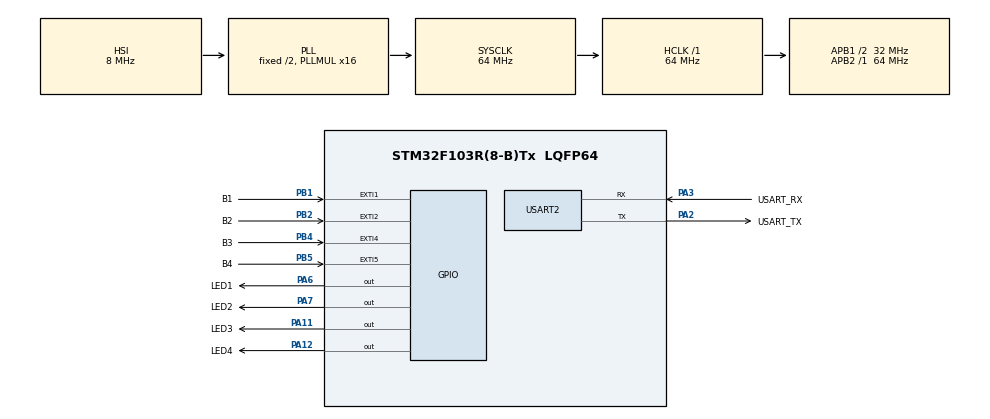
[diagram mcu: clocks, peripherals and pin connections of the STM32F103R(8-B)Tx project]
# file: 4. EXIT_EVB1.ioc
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Mcu.Family=STM32F1
Mcu.Name=STM32F103R(8-B)Tx
Mcu.Package=LQFP64
NVIC.EXTI1_IRQn=true\:0\:0\:false\:false\:true\:true\:true\:true
NVIC.EXTI2_IRQn=true\:0\:0\:false\:false\:true\:true\:true\:true
NVIC.EXTI4_IRQn=true\:0\:0\:false\:false\:true\:true\:true\:true
NVIC.EXTI9_5_IRQn=true\:0\:0\:false\:false\:true\:true\:true\:true
NVIC.PriorityGroup=NVIC_PRIORITYGROUP_4
PA11.GPIO_Label=LED3
PA11.Signal=GPIO_Output
PA12.GPIO_Label=LED4
PA12.Signal=GPIO_Output
PA13.GPIO_Label=TMS
PA13.Mode=Serial_Wire
PA13.Signal=SYS_JTMS-SWDIO
PA14.GPIO_Label=TCK
PA14.Mode=Serial_Wire
PA14.Signal=SYS_JTCK-SWCLK
PA2.GPIO_Label=USART_TX
PA2.GPIO_Mode=GPIO_MODE_AF_PP
PA2.GPIO_PuPd=GPIO_NOPULL
PA2.GPIO_Speed=GPIO_SPEED_FREQ_LOW
PA2.Mode=Asynchronous
PA2.Signal=USART2_TX
PA3.GPIO_Label=USART_RX
PA3.GPIO_Mode=GPIO_MODE_AF_PP
PA3.GPIO_PuPd=GPIO_NOPULL
PA3.GPIO_Speed=GPIO_SPEED_FREQ_LOW
PA3.Mode=Asynchronous
PA3.Signal=USART2_RX
PA6.GPIO_Label=LED1
PA6.Signal=GPIO_Output
PA7.GPIO_Label=LED2
PA7.Signal=GPIO_Output
PB1.GPIO_Label=B1
PB1.Signal=GPXTI1
PB2.GPIO_Label=B2
PB2.Signal=GPXTI2
PB3.GPIO_Label=SWO
PB3.Signal=SYS_JTDO-TRACESWO
PB4.GPIO_Label=B3
PB4.Signal=GPXTI4
PB5.GPIO_Label=B4
PB5.Signal=GPXTI5
PC14-OSC32_IN.Signal=RCC_OSC32_IN
PC15-OSC32_OUT.Signal=RCC_OSC32_OUT
PD0-OSC_IN.Signal=RCC_OSC_IN
PD1-OSC_OUT.Signal=RCC_OSC_OUT
ProjectManager.HeapSize=0x200
ProjectManager.StackSize=0x400
ProjectManager.TargetToolchain=STM32CubeIDE
RCC.AHBFreq_Value=64000000
RCC.APB1CLKDivider=RCC_HCLK_DIV2
RCC.APB1Freq_Value=32000000
RCC.APB1TimFreq_Value=64000000
RCC.APB2Freq_Value=64000000
RCC.APB2TimFreq_Value=64000000
RCC.HCLKFreq_Value=64000000
RCC.PLLMUL=RCC_PLL_MUL16
RCC.RTCClockSelection=RCC_RTCCLKSOURCE_LSE
RCC.SYSCLKFreq_VALUE=64000000
RCC.SYSCLKSource=RCC_SYSCLKSOURCE_PLLCLK
RCC.USBFreq_Value=64000000
USART2.VirtualMode=VM_ASYNC
board=NUCLEO-F103RB

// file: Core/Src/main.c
/* USER CODE BEGIN Header */
/**
  ******************************************************************************
  * @file           : main.c
  * @brief          : Main program body
  ******************************************************************************
  * @attention
  *
  * Copyright (c) 2025 STMicroelectronics.
  * All rights reserved.
  *
  * This software is licensed under terms that can be found in the LICENSE file
  * in the root directory of this software component.
  * If no LICENSE file comes with this software, it is provided AS-IS.
  *
  ******************************************************************************
  */
/* USER CODE END Header */
#include "main.h"

UART_HandleTypeDef huart2;

void SystemClock_Config(void);
static void MX_GPIO_Init(void);
static void MX_USART2_UART_Init(void);

int main(void)
{

  /* MCU Configuration--------------------------------------------------------*/

  /* Reset of all peripherals, Initializes the Flash interface and the Systick. */
  HAL_Init();

  /* Configure the system clock */
  SystemClock_Config();

  /* Initialize all configured peripherals */
  MX_GPIO_Init();
  MX_USART2_UART_Init();

  /* Infinite loop */
  while (1)
  {

  }
}

void SystemClock_Config(void)
{
  RCC_OscInitTypeDef RCC_OscInitStruct = {0};
  RCC_ClkInitTypeDef RCC_ClkInitStruct = {0};

  /** Initializes the RCC Oscillators according to the specified parameters
  * in the RCC_OscInitTypeDef structure.
  */
  RCC_OscInitStruct.OscillatorType = RCC_OSCILLATORTYPE_HSI;
  RCC_OscInitStruct.HSIState = RCC_HSI_ON;
  RCC_OscInitStruct.HSICalibrationValue = RCC_HSICALIBRATION_DEFAULT;
  RCC_OscInitStruct.PLL.PLLState = RCC_PLL_ON;
  RCC_OscInitStruct.PLL.PLLSource = RCC_PLLSOURCE_HSI_DIV2;
  RCC_OscInitStruct.PLL.PLLMUL = RCC_PLL_MUL16;
  if (HAL_RCC_OscConfig(&RCC_OscInitStruct) != HAL_OK)
  {
    Error_Handler();
  }

  /** Initializes the CPU, AHB and APB buses clocks
  */
  RCC_ClkInitStruct.ClockType = RCC_CLOCKTYPE_HCLK|RCC_CLOCKTYPE_SYSCLK
                              |RCC_CLOCKTYPE_PCLK1|RCC_CLOCKTYPE_PCLK2;
  RCC_ClkInitStruct.SYSCLKSource = RCC_SYSCLKSOURCE_PLLCLK;
  RCC_ClkInitStruct.AHBCLKDivider = RCC_SYSCLK_DIV1;
  RCC_ClkInitStruct.APB1CLKDivider = RCC_HCLK_DIV2;
  RCC_ClkInitStruct.APB2CLKDivider = RCC_HCLK_DIV1;

  if (HAL_RCC_ClockConfig(&RCC_ClkInitStruct, FLASH_LATENCY_2) != HAL_OK)
  {
    Error_Handler();
  }
}

static void MX_USART2_UART_Init(void)
{

  huart2.Instance = USART2;
  huart2.Init.BaudRate = 115200;
  huart2.Init.WordLength = UART_WORDLENGTH_8B;
  huart2.Init.StopBits = UART_STOPBITS_1;
  huart2.Init.Parity = UART_PARITY_NONE;
  huart2.Init.Mode = UART_MODE_TX_RX;
  huart2.Init.HwFlowCtl = UART_HWCONTROL_NONE;
  huart2.Init.OverSampling = UART_OVERSAMPLING_16;
  if (HAL_UART_Init(&huart2) != HAL_OK)
  {
    Error_Handler();
  }

}

static void MX_GPIO_Init(void)
{
  GPIO_InitTypeDef GPIO_InitStruct = {0};

  /* GPIO Ports Clock Enable */
  __HAL_RCC_GPIOC_CLK_ENABLE();
  __HAL_RCC_GPIOD_CLK_ENABLE();
  __HAL_RCC_GPIOA_CLK_ENABLE();
  __HAL_RCC_GPIOB_CLK_ENABLE();

  /*Configure GPIO pin Output Level */
  HAL_GPIO_WritePin(GPIOA, LED1_Pin|LED2_Pin|LED3_Pin|LED4_Pin, GPIO_PIN_RESET);

  /*Configure GPIO pins : LED1_Pin LED2_Pin LED3_Pin LED4_Pin */
  GPIO_InitStruct.Pin = LED1_Pin|LED2_Pin|LED3_Pin|LED4_Pin;
  GPIO_InitStruct.Mode = GPIO_MODE_OUTPUT_PP;
  GPIO_InitStruct.Pull = GPIO_NOPULL;
  GPIO_InitStruct.Speed = GPIO_SPEED_FREQ_LOW;
  HAL_GPIO_Init(GPIOA, &GPIO_InitStruct);

  /*Configure GPIO pins : B1_Pin B2_Pin B3_Pin B4_Pin */
  GPIO_InitStruct.Pin = B1_Pin|B2_Pin|B3_Pin|B4_Pin;
  GPIO_InitStruct.Mode = GPIO_MODE_IT_RISING;
  GPIO_InitStruct.Pull = GPIO_NOPULL;
  HAL_GPIO_Init(GPIOB, &GPIO_InitStruct);

  /* EXTI interrupt init*/
  HAL_NVIC_SetPriority(EXTI1_IRQn, 0, 0);
  HAL_NVIC_EnableIRQ(EXTI1_IRQn);

  HAL_NVIC_SetPriority(EXTI2_IRQn, 0, 0);
  HAL_NVIC_EnableIRQ(EXTI2_IRQn);

  HAL_NVIC_SetPriority(EXTI4_IRQn, 0, 0);
  HAL_NVIC_EnableIRQ(EXTI4_IRQn);

  HAL_NVIC_SetPriority(EXTI9_5_IRQn, 0, 0);
  HAL_NVIC_EnableIRQ(EXTI9_5_IRQn);

}

/* USER CODE BEGIN 4 */
void HAL_GPIO_EXTI_Callback(uint16_t GPIO_Pin) {
	if (HAL_GPIO_ReadPin(B1_GPIO_Port, B1_Pin))
		HAL_GPIO_WritePin(LED1_GPIO_Port, LED1_Pin, GPIO_PIN_RESET);
	else
		HAL_GPIO_WritePin(LED1_GPIO_Port, LED1_Pin, GPIO_PIN_SET);

	if (HAL_GPIO_ReadPin(B2_GPIO_Port, B2_Pin))
		HAL_GPIO_WritePin(LED2_GPIO_Port, LED2_Pin, GPIO_PIN_RESET);
	else
		HAL_GPIO_WritePin(LED2_GPIO_Port, LED2_Pin, GPIO_PIN_SET);

	if (HAL_GPIO_ReadPin(B3_GPIO_Port, B3_Pin))
		HAL_GPIO_WritePin(LED3_GPIO_Port, LED3_Pin, GPIO_PIN_RESET);
	else
		HAL_GPIO_WritePin(LED3_GPIO_Port, LED3_Pin, GPIO_PIN_SET);

	if (HAL_GPIO_ReadPin(B4_GPIO_Port, B4_Pin))
			HAL_GPIO_WritePin(LED4_GPIO_Port, LED4_Pin, GPIO_PIN_RESET);
		else
			HAL_GPIO_WritePin(LED4_GPIO_Port, LED4_Pin, GPIO_PIN_SET);
}
/* USER CODE END 4 */

void Error_Handler(void)
{
  __disable_irq();
  while (1)
  {
  }
}
